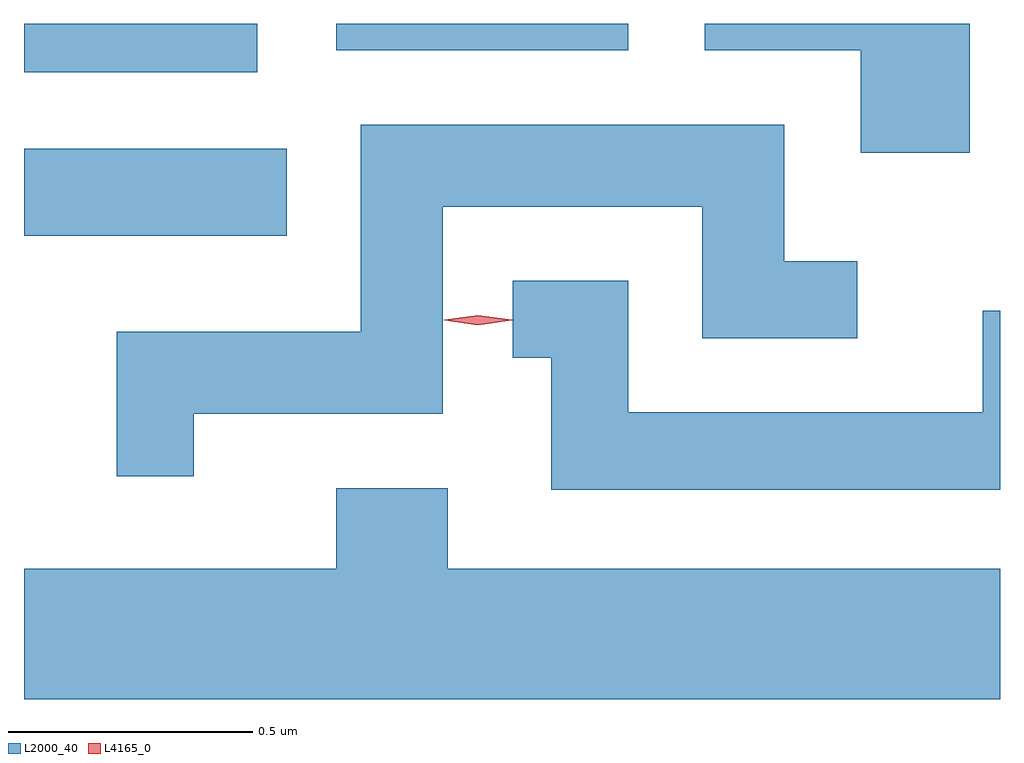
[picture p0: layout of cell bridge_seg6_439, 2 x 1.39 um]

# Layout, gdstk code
import gdstk
lib = gdstk.Library(unit=1e-6, precision=1e-09)
def R(c, l, rs):  # rectangles x0, y0, x1, y1
    for r in rs: c.add(gdstk.rectangle(r[:2], r[2:], *l))
def P(c, l, *ps):  # polygons
    for p in ps: c.add(gdstk.Polygon(p, *l))
L2000_40 = (2000, 40)
L4165_0 = (4165, 0)

bridge_seg6_439 = lib.new_cell('bridge_seg6_439')
R(bridge_seg6_439, L2000_40, [(856.561,1639.786,857.099,1639.964), (856.561,1640.121,857.039,1640.221), (857.201,1640.166,857.799,1640.221)])
P(bridge_seg6_439, L2000_40, [(858.499,1640.221),(857.956,1640.221),(857.956,1640.166),(858.276,1640.166),(858.276,1639.956),(858.499,1639.956)],
  [(856.909,1639.421),(857.419,1639.421),(857.419,1639.846),(857.951,1639.846),(857.951,1639.576),(858.268,1639.576),(858.268,1639.734),(858.119,1639.734),(858.119,1640.014),(857.251,1640.014),(857.251,1639.589),(856.751,1639.589),(856.751,1639.293),(856.909,1639.293)],
  [(858.561,1639.633),(858.526,1639.633),(858.526,1639.424),(857.799,1639.424),(857.799,1639.694),(857.563,1639.694),(857.563,1639.536),(857.641,1639.536),(857.641,1639.266),(858.561,1639.266)],
  [(858.561,1639.104),(857.429,1639.104),(857.429,1639.269),(857.201,1639.269),(857.201,1639.104),(856.561,1639.104),(856.561,1638.836),(858.561,1638.836)])
P(bridge_seg6_439, L4165_0, [(857.491,1639.603),(857.422,1639.613),(857.422,1639.613),(857.422,1639.614),(857.491,1639.623),(857.561,1639.614),(857.561,1639.613),(857.561,1639.613)])

lib.write_gds('bridge_seg6_439.gds')
